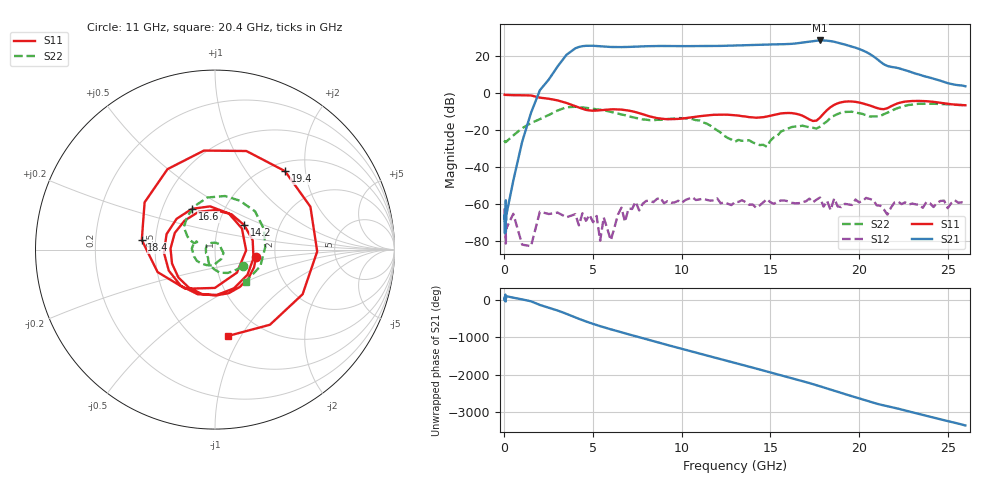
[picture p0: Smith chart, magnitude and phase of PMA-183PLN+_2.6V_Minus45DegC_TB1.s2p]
!Keysight Technologies,N5244A,MY52442000,A.10.40.14
!Date: Thursday, July 16, 2020 10:47:36
!Correction: S11(Full 2 Port(1,2))
!S21(Full 2 Port(1,2))
!S12(Full 2 Port(1,2))
!S22(Full 2 Port(1,2))
!S2P File: Measurements: S11, S21, S12, S22:
# Hz S  dB  R 50
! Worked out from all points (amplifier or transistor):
!   128 points, 10 MHz to 26 GHz, reference 50 ohm
!   highest |S21| = 28.3 dB at 17.8 GHz (marker M1)
!   |S21| within 3 dB of that: 11.68 GHz to 19.49 GHz (7.808 GHz wide, 50.1 % of centre)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
!   unconditionally stable (mu >= 1): start of sweep to end of sweep
!   at 4.8 GHz: K = 40.18, MAG = 26.6 dB, |S12| = -65.9 dB
!   at 13.4 GHz: K = 19.48, MAG = 25.9 dB, |S12| = -58.0 dB
!   at 26 GHz: K = 201.77, MAG = 5.6 dB, |S12| = -59.7 dB
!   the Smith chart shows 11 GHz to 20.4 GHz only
!   S11 on the Smith chart (normalised r, x): 11 GHz: 1.59, -0.13; 14.2 GHz: 1.33, +0.38; 16.6 GHz: 0.70, +0.34; 18.4 GHz: 0.42, +0.05; 19.4 GHz: 1.17, +1.55; 20.4 GHz: 0.70, -0.88
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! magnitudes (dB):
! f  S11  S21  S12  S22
! 10 MHz  -1.0  -67.9  -62.4  -25.8
! 70 MHz  -1.1  -74.1  -68.4  -26.6
! 80 MHz  -1.1  -58.0  -81.4  -26.6
! 90 MHz  -1.1  -69.0  -70.1  -26.2
! 500 MHz  -1.3  -47.4  -65.3  -23.0
! 1.5 GHz  -1.4  -10.8  -82.8  -16.3
! 2 GHz  -2.6  1.4  -64.2  -14.2
! 4.4 GHz  -8.6  25.2  -65.0  -7.9
! 6 GHz  -8.9  24.7  -79.6  -10.3
! 6.6 GHz  -9.1  24.7  -62.0  -11.7
! 8.8 GHz  -13.9  25.3  -56.7  -14.6
! 11 GHz  -12.7  25.2  -57.6  -14.9
! 13.2 GHz  -12.3  25.6  -58.9  -25.4
! 14.2 GHz  -13.5  26.0  -62.1  -27.5
! 16.6 GHz  -11.7  26.9  -59.6  -18.2
! 17.4 GHz  -15.2  27.9  -59.1  -18.9
! 17.8 GHz  -13.4  28.3  -56.5  -18.3
! 18.4 GHz  -7.7  27.9  -63.3  -13.4
! 19.4 GHz  -4.6  25.5  -60.3  -10.3
! 20.4 GHz  -6.3  22.1  -56.8  -12.1
! 21.8 GHz  -7.3  14.0  -62.0  -9.9
! 26 GHz  -6.7  3.5  -59.7  -6.9
